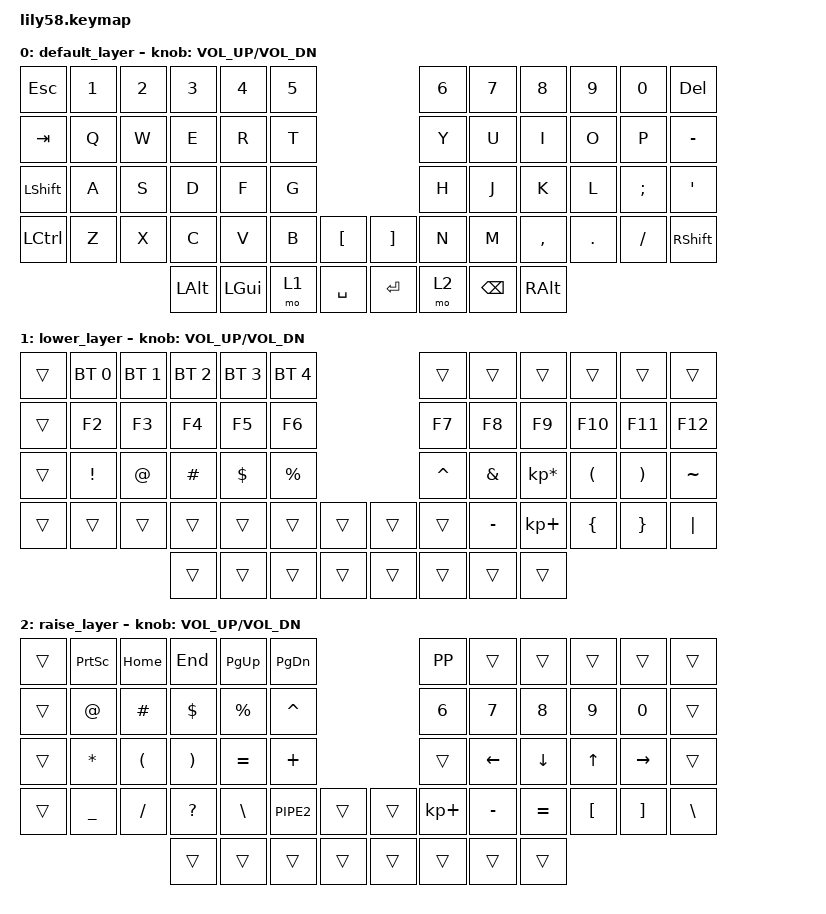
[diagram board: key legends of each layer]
/*
 * Copyright (c) 2020 The ZMK Contributors
 *
 * SPDX-License-Identifier: MIT
 */

#include <behaviors.dtsi>
#include <dt-bindings/zmk/keys.h>
#include <dt-bindings/zmk/bt.h>
#include <dt-bindings/zmk/ext_power.h>
#include <dt-bindings/zmk/outputs.h>

/ {
	keymap {
		compatible = "zmk,keymap";

		default_layer {
// .-----------------------------------------.                    .-----------------------------------------.
// | ESC  |  1   |  2   |  3   |  4   |  5   |                    |  6   |  7   |  8   |  9   |   0  | DEL  |
// |------+------+------+------+------+------|                    |------+------+------+------+------+------|
// | TAB  |  Q   |  W   |  E   |  R   |  T   |                    |  Y   |  U   |  I   |  O   |   P  |  -   |
// |------+------+------+------+------+------|                    |------+------+------+------+------+------|
// | SHFT |  A   |  S   |  D   |  F   |  G   |-------.    .-------|  H   |  J   |  K   |  L   |   ;  |  '   |
// |------+------+------+------+------+------|   [   |    |   ]   |------+------+------+------+------+------|
// | CTRL |  Z   |  X   |  C   |  V   |  B   |-------|    |-------|  N   |  M   |  ,   |  .   |   /  | SHFT |
// `-----------------------------------------/       /     \      \-----------------------------------------'
//                   | LAlt | LGUI |LOWER | / SPACE /       \ ENTER\  |RAISE |BackSP| RAlt |
//                   |      |      |      |/       /         \      \ |      |      |      |
//                   `----------------------------'           '------''--------------------'

			bindings = <
&kp ESC   &kp N1 &kp N2 &kp N3   &kp N4   &kp N5                     &kp N6 &kp N7   &kp N8    &kp N9  &kp N0   &kp DELETE
&kp TAB   &kp Q  &kp W  &kp E    &kp R    &kp T                      &kp Y  &kp U    &kp I     &kp O   &kp P    &kp MINUS
&kp LSHFT &kp A  &kp S  &kp D    &kp F    &kp G                      &kp H  &kp J    &kp K     &kp L   &kp SEMI &kp SQT
&kp LCTRL &kp Z  &kp X  &kp C    &kp V    &kp B  &kp LBKT   &kp RBKT &kp N  &kp M    &kp COMMA &kp DOT &kp FSLH &kp RSHFT
                        &kp LALT &kp LGUI &mo 1  &kp SPACE  &kp RET  &mo 2  &kp BSPC &kp RIGHT_ALT
			>;

			sensor-bindings = <&inc_dec_kp C_VOL_UP C_VOL_DN>;
		};

		lower_layer {	
// .-----------------------------------------.                    .-----------------------------------------.
// | TOGG | BT1  | BT2  |  BT3 |  BT4 | BT5  |                    |      |      |      |      |      |      |
// |------+------+------+------+------+------|                    |------+------+------+------+------+------|
// |  F1  |  F2  |  F3  |  F4  |  F5  |  F6  |                    |  F7  |  F8  |  F9  |  F10 |  F11 |  F12 |
// |------+------+------+------+------+------|                    |------+------+------+------+------+------|
// |   `  |  !   |  @   |  #   |  $   |  %   |-------.    .-------|  ^   |  &   |  *   |  (   |   )  |  ~   |
// |------+------+------+------+------+------|       |    |       |------+------+------+------+------+------|
// |      |      |      |      |      |      |-------|    |-------|      |  _   |  +   |  {   |   }  |  "|" |
// `-----------------------------------------/       /     \      \-----------------------------------------'
//                   |      |      |      | /       /       \      \  |      |      |      |
//                   |      |      |      |/       /         \      \ |      |      |      |
//                   `----------------------------'           '------''--------------------'

			bindings = <
&trans       &bt BT_SEL 0     &bt BT_SEL 1      &bt BT_SEL 2      &bt BT_SEL 3 &bt BT_SEL 4                 &trans    &trans    &trans          &trans    &trans    &trans
&trans       &kp F2           &kp F3            &kp F4            &kp F5       &kp F6                       &kp F7    &kp F8    &kp F9          &kp F10   &kp F11   &kp F12
&trans       &kp EXCL         &kp AT            &kp HASH          &kp DOLLAR   &kp PRCNT                    &kp CARET &kp AMPS  &kp KP_MULTIPLY &kp LPAR  &kp RPAR  &kp TILDE
&trans       &trans           &trans            &trans            &trans       &trans    &trans   &trans    &trans    &kp MINUS &kp KP_PLUS     &kp LBRC  &kp RBRC  &kp PIPE
                                                &trans            &trans       &trans    &trans   &trans    &trans    &trans    &trans
			>;

			sensor-bindings = <&inc_dec_kp C_VOL_UP C_VOL_DN>;
		};

		raise_layer {
// .-----------------------------------------.                    .-----------------------------------------.
// |      | Print| Home |  End |PageUp|PageDo|                    |PlayPause|      |      |      |      |      |
// |------+------+------+------+------+------|                    |---------+------+------+------+------+------|
// |      |  @   |  #   |  $   |  %   |  ^   |                    |  6      |   7  |   8  |  9   |   0  |      |
// |------+------+------+------+------+------|                    |---------+------+------+------+------+------|
// |      |  *   |  (   |  )   |  =   |  +   |-------.    .-------|         |   <- |   ^  |  v   |  ->  |      |
// |------+------+------+------+------+------|       |    |       |---------+------+------+------+------+------|
// |      |  _   |  /   |  ?   |  \   |  >   |-------|    |-------|  +      |   -  |   =  |  [   |   ]  |   \  |
// `-----------------------------------------/       /     \      \-----------------------------------------'
//                   |      |   ;  |   :  | /       /       \      \  |      |      |      |
//                   |      |      |      |/       /         \      \ |      |      |      |
//                   `----------------------------'           '------''--------------------'

			bindings = <
&trans    &kp PSCRN &kp HOME  &kp END   &kp PG_UP  &kp PG_DN                    &kp K_PP    &trans    &trans    &trans   &trans    &trans
&trans    &kp AT    &kp POUND &kp DLLR  &kp PRCNT  &kp CARET                    &kp N6      &kp N7    &kp N8    &kp N9   &kp N0    &trans
&trans    &kp STAR  &kp LPAR  &kp RPAR  &kp EQUAL  &kp PLUS                     &trans      &kp LEFT  &kp DOWN  &kp UP   &kp RIGHT &trans
&trans    &kp UNDER &kp FSLH  &kp QMARK &kp BSLH   &kp PIPE2 &trans   &trans    &kp KP_PLUS &kp MINUS &kp EQUAL &kp LBKT &kp RBKT  &kp BSLH
                              &trans    &trans     &trans    &trans   &trans    &trans      &trans    &trans
			>;

			sensor-bindings = <&inc_dec_kp C_VOL_UP C_VOL_DN>;
		};
	};
};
